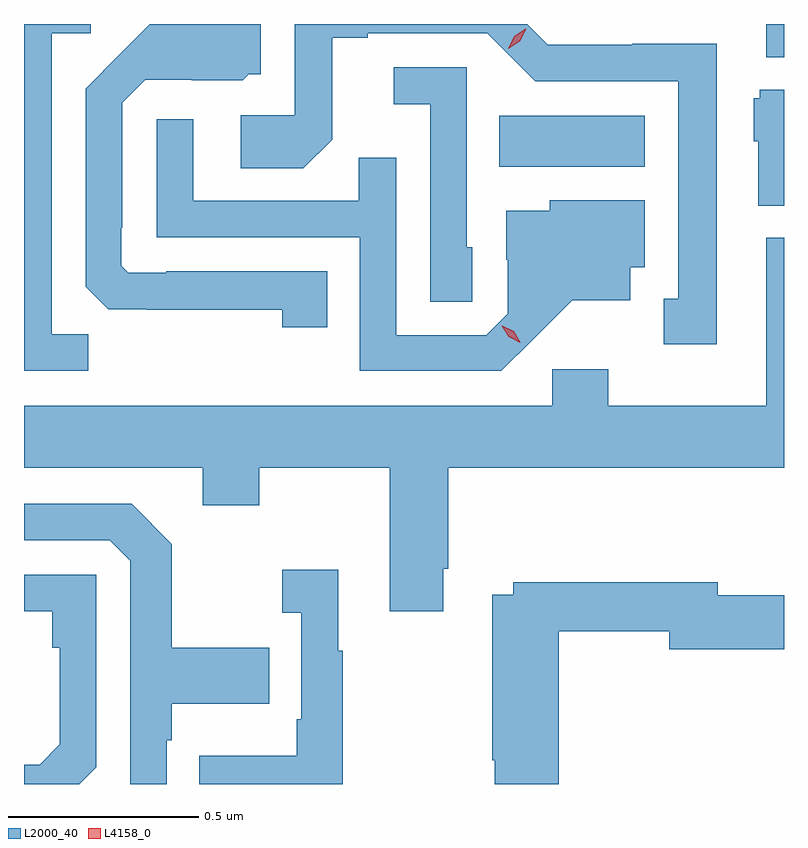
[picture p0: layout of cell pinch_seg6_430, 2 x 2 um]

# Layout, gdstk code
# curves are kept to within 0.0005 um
import gdstk
lib = gdstk.Library(unit=1e-6, precision=1e-09)
def R(c, l, rs):  # rectangles x0, y0, x1, y1
    for r in rs: c.add(gdstk.rectangle(r[:2], r[2:], *l))
def P(c, l, *ps):  # polygons
    for p in ps: c.add(gdstk.Polygon(p, *l))
L2000_40 = (2000, 40)
L4158_0 = (4158, 0)

pinch_seg6_430 = lib.new_cell('pinch_seg6_430')
R(pinch_seg6_430, L2000_40, [(650.854,922.82,651.238,922.954), (651.557,923.108,651.604,923.196)])
P(pinch_seg6_430, L2000_40, [(651.427,923.144),(651.204,923.144),(651.204,923.142),(650.982,923.142),(650.928,923.196),(650.316,923.196),(650.316,922.956),(650.175,922.956),(650.175,922.816),(650.339,922.816),(650.415,922.892),(650.415,923.16),(650.509,923.16),(650.509,923.172),(650.823,923.172),(650.949,923.046),(651.326,923.046),(651.326,922.473),(651.287,922.473),(651.287,922.353),(651.427,922.353)],
  [(649.773,922.379),(649.677,922.379),(649.677,923.172),(649.78,923.172),(649.78,923.196),(649.604,923.196),(649.604,922.284),(649.773,922.284)],
  [(650.402,922.545),(649.978,922.545),(649.978,922.542),(649.878,922.542),(649.86,922.56),(649.86,922.66),(649.863,922.66),(649.863,922.989),(649.923,923.049),(650.046,923.049),(650.046,923.048),(650.18,923.048),(650.196,923.064),(650.227,923.064),(650.227,923.196),(649.935,923.196),(649.767,923.026),(649.767,922.504),(649.826,922.445),(649.927,922.445),(649.927,922.444),(650.284,922.444),(650.284,922.398),(650.402,922.398)],
  [(650.784,922.608),(650.769,922.608),(650.769,923.082),(650.577,923.082),(650.577,922.985),(650.673,922.985),(650.673,922.465),(650.784,922.465)],
  [(651.604,923.023),(651.54,923.023),(651.54,923.001),(651.524,923.001),(651.524,922.887),(651.536,922.887),(651.536,922.718),(651.604,922.718)],
  [(650.944,922.367),(651.047,922.469),(651.199,922.469),(651.199,922.556),(651.238,922.556),(651.238,922.732),(650.988,922.732),(650.988,922.705),(650.873,922.705),(650.873,922.576),(650.877,922.576),(650.877,922.434),(650.82,922.377),(650.583,922.377),(650.583,922.844),(650.485,922.844),(650.485,922.731),(650.049,922.731),(650.049,922.945),(649.953,922.945),(649.953,922.635),(650.487,922.635),(650.487,922.284),(650.86,922.284)],
  [(650.707,921.763),(650.72,921.763),(650.72,922.028),(651.604,922.028),(651.604,922.633),(651.557,922.633),(651.557,922.192),(651.141,922.192),(651.141,922.288),(650.994,922.288),(650.994,922.192),(649.604,922.192),(649.604,922.028),(650.075,922.028),(650.075,921.929),(650.223,921.929),(650.223,922.028),(650.567,922.028),(650.567,921.651),(650.707,921.651)],
  [(649.98,921.311),(649.993,921.311),(649.993,921.407),(650.249,921.407),(650.249,921.555),(649.993,921.555),(649.993,921.827),(649.887,921.933),(649.604,921.933),(649.604,921.837),(649.83,921.837),(649.884,921.783),(649.884,921.196),(649.98,921.196)],
  [(650.443,921.547),(650.431,921.547),(650.431,921.76),(650.283,921.76),(650.283,921.647),(650.334,921.647),(650.334,921.367),(650.322,921.367),(650.322,921.271),(650.065,921.271),(650.065,921.196),(650.443,921.196)],
  [(649.794,921.24),(649.794,921.747),(649.604,921.747),(649.604,921.651),(649.678,921.651),(649.678,921.554),(649.698,921.554),(649.698,921.3),(649.645,921.247),(649.604,921.247),(649.604,921.196),(649.75,921.196)],
  [(651.011,921.598),(651.302,921.598),(651.302,921.551),(651.604,921.551),(651.604,921.693),(651.43,921.693),(651.43,921.727),(650.892,921.727),(650.892,921.694),(650.836,921.694),(650.836,921.259),(650.843,921.259),(650.843,921.196),(651.011,921.196)])
P(pinch_seg6_430, L4158_0, [(650.878,923.131),(650.878,923.132),(650.894,923.164),(650.925,923.184),(650.926,923.184),(650.926,923.183),(650.909,923.151),(650.878,923.131)],
  [(650.91,922.357),(650.879,922.373),(650.861,922.402),(650.861,922.402),(650.862,922.402),(650.893,922.387),(650.91,922.358),(650.91,922.357)])

lib.write_gds('pinch_seg6_430.gds')
